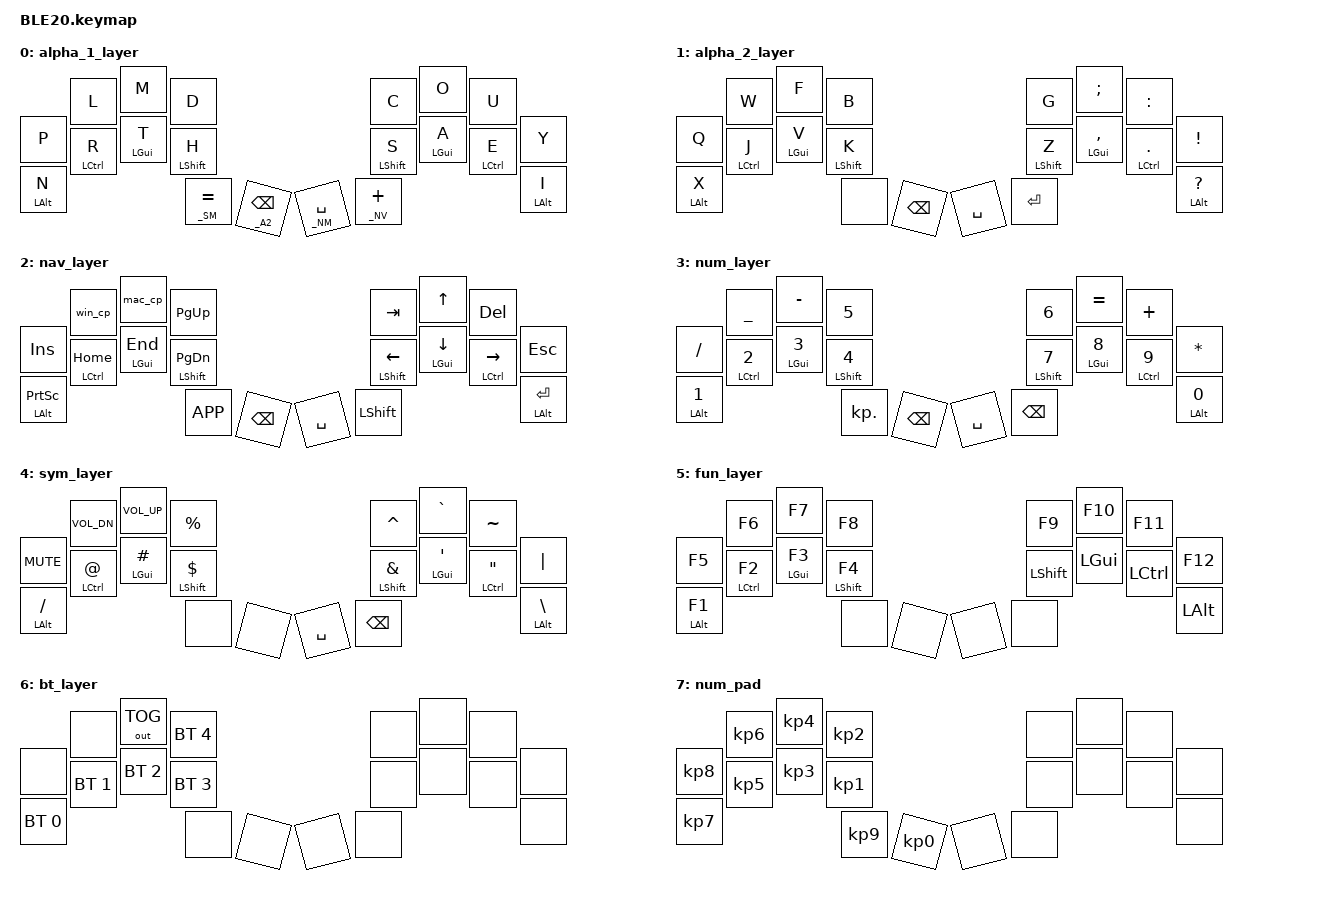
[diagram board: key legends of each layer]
/*
 * Copyright (c) 2021 The ZMK Contributors
 *
 * SPDX-License-Identifier: MIT
 */

#include <behaviors.dtsi>
#include <dt-bindings/zmk/keys.h>
#include <dt-bindings/zmk/bt.h>
#include <dt-bindings/zmk/outputs.h>
#include "keypos_20keys.h"

#define _A1      0
#define _A2      1
#define _NV      2
#define _NM      3
#define _SM      4
#define _FS      5
#define _BT      6
#define _NP      7

// &sk {
//     quick-release;
// };

&sl {
    release-after-ms = <300>;
};

/ {
// ------------------------- MACROS --------------------------------
    macros {
            muc_you: macro_uc_you {
            compatible = "zmk,behavior-macro";
            #binding-cells = <0>;
            wait-ms = <0>;
            tap-ms = <5>;
            bindings
                = <&kp LS(Y)>
                , <&kp O>
                , <&kp U>
                ;
        };

        mlc_you: macro_lc_you {
            compatible = "zmk,behavior-macro";
            #binding-cells = <0>;
            wait-ms = <0>;
            tap-ms = <5>;
            bindings
                = <&kp Y>
                , <&kp O>
                , <&kp U>
                ;
        };

        muc_the: macro_uc_the {
            compatible = "zmk,behavior-macro";
            #binding-cells = <0>;
            wait-ms = <0>;
            tap-ms = <5>;
            bindings
                = <&kp LS(T)>
                , <&kp H>
                , <&kp E>
                ;
        };

        mlc_the: macro_lc_the {
            compatible = "zmk,behavior-macro";
            #binding-cells = <0>;
            wait-ms = <0>;
            tap-ms = <5>;
            bindings
                = <&kp T>
                , <&kp H>
                , <&kp E>
                ;
        };

        mlc_are: macro_lc_are {
            compatible = "zmk,behavior-macro";
            #binding-cells = <0>;
            wait-ms = <0>;
            tap-ms = <5>;
            bindings
                = <&kp A>
                , <&kp R>
                , <&kp E>
                ;
        };

        mlc_ould: macro_lc_ould {
            compatible = "zmk,behavior-macro";
            #binding-cells = <0>;
            wait-ms = <0>;
            tap-ms = <5>;
            bindings
                = <&kp O>
                , <&kp U>
                , <&kp L>
                , <&kp D>
                ;
        };

        // to_BASE: to_BASE {
        //     compatible = "zmk,behavior-macro";
        //     #binding-cells = <0>;
        //     wait-ms = <0>;
        //     tap-ms = <0>;
        //     bindings
        //         = <&rgb_ug RGB_OFF>
        //         , <&tog _NAV>
        //         ;
        // };

        // mo_SYM: mo_SYM {
        //     compatible = "zmk,behavior-macro";
        //     #binding-cells = <0>;
        //     wait-ms = <0>;
        //     tap-ms = <0>;
        //     bindings
        //         = <&macro_tap &rgb_ug RGB_SYM>
        //         , <&macro_press &mo _SYM>
        //         , <&macro_pause_for_release>
        //         , <&macro_tap &rgb_ug RGB_BASE>
        //         , <&macro_release &mo _SYM>
        //         ;
        // };

        // to_SYM: to_SYM {
        //     compatible = "zmk,behavior-macro";
        //     #binding-cells = <0>;
        //     wait-ms = <0>;
        //     tap-ms = <0>;
        //     bindings
        //         = <&rgb_ug RGB_ON>
        //         , <&rgb_ug RGB_SYM>
        //         , <&to _SYM>
        //         ;
        // };

        // to_NAV: to_NAV {
        //     compatible = "zmk,behavior-macro";
        //     #binding-cells = <0>;
        //     wait-ms = <0>;
        //     tap-ms = <0>;
        //     bindings
        //         = <&rgb_ug RGB_ON>
        //         , <&rgb_ug RGB_NAV>
        //         , <&tog _NAV>
        //         ;
        // };

        // mo_NAV: mo_NAV {
        //     compatible = "zmk,behavior-macro";
        //     #binding-cells = <0>;
        //     wait-ms = <0>;
        //     tap-ms = <0>;
        //     bindings
        //         = <&macro_tap &rgb_ug RGB_NAV>
        //         , <&macro_press &mo _NAV>
        //         , <&macro_pause_for_release>
        //         , <&macro_tap &rgb_ug RGB_BASE>
        //         , <&macro_release &mo _NAV>
        //         ;
        // };

        // mo_BTF: mo_BTF {
        //     compatible = "zmk,behavior-macro";
        //     #binding-cells = <0>;
        //     wait-ms = <0>;
        //     tap-ms = <0>;
        //     bindings
        //         = <&macro_tap &rgb_ug RGB_ON>
        //         , <&macro_tap &rgb_ug RGB_BTF>
        //         , <&macro_press &mo _BTF>
        //         , <&macro_pause_for_release>
        //         , <&macro_tap &rgb_ug RGB_OFF>
        //         , <&macro_release &mo _BTF>
        //         ;
        // };

        // to_BOOT: to_BOOT {
        //     compatible = "zmk,behavior-macro";
        //     #binding-cells = <0>;
        //     bindings
        //         = <&rgb_ug RGB_COLOR_HSB(0,100,50)>
        //         , <&rgb_ug RGB_ON>
        //         , <&bootloader>
        //         ;
        // };
    };

    combos {
        compatible = "zmk,combos";
// ------------------------- LAYER COMBOS --------------------------------
        combo_BOOT {
            timeout-ms = <40>;
            key-positions = <LOT LIT LTP LBP>;
            bindings = <&bootloader>;
        };

        combo_BT_CLR {
            timeout-ms = <40>;
            key-positions = <LTP LTR>;
            bindings = <&bt BT_CLR>;
            layers = <_BT>;
        };

        combo_BT {
            timeout-ms = <50>;
            key-positions = <LOT LIT>;
            bindings = <&mo _BT>;
        };

        combo_FUN {
            timeout-ms = <50>;
            key-positions = <LIT RIT>;
            bindings = <&mo _FS>;
        };

        combo_NAV {
            timeout-ms = <50>;
            key-positions = <RBI RTM RBR>;
            bindings = <&to _NV>;
            layers = <_A1>;
        };

        combo_NUMPAD {
            timeout-ms = <50>;
            key-positions = <LBI LTM LBR>;
            bindings = <&to _NP>;
            layers = <_A1>;
        };

        combo_BASER {
            timeout-ms = <50>;
            key-positions = <RBI RTM RBR>;
            bindings = <&to _A1>;
            layers = <_NV _NP>;
        };

        combo_BASEL {
            timeout-ms = <50>;
            key-positions = <LBI LTM LBR>;
            bindings = <&to _A1>;
            layers = <_NV _NP>;
        };

// ------------------------- VOLUME COMBOS --------------------------------
        // combo_V_UP {
        //     timeout-ms = <40>;
        //     key-positions = <LTI LTM>;
        //     bindings = <&kp C_VOL_UP>;
        //     require-prior-idle-ms = <200>;
        //     layers = <_A1>;
        // };

        // combo_V_DN {
        //     timeout-ms = <40>;
        //     key-positions = <LBM LBI>;
        //     bindings = <&kp C_VOL_DN>;
        //     require-prior-idle-ms = <200>;
        //     layers = <_A1>;
        // };

        // combo_MUTE {
        //     timeout-ms = <40>;
        //     key-positions = <LOT LIT>;
        //     bindings = <&kp C_MUTE>;
        //     require-prior-idle-ms = <200>;
        //     layers = <_A1>;
        // };

        // combo_ESC {
        //     timeout-ms = <50>;
        //     key-positions = <LTP LTR>;
        //     bindings = <&kp ESC>;
        //     require-prior-idle-ms = <200>;
        // };

        // combo_BSPC {
        //     timeout-ms = <50>;
        //     key-positions = <RBI RBM RBR>;
        //     bindings = <&kp BSPC>;
        //     layers = <_A1>;
        // };



// ------------------------- MODS COMBOS --------------------------------
        combo_CAPS {
            timeout-ms = <50>;
            key-positions = <LTI RTI>;
            bindings = <&caps_word>;
            require-prior-idle-ms = <200>;
            layers = <_A1 _A2>;
        };

        // combo_RALTL {
        //     timeout-ms = <40>;
        //     key-positions = <LMP LTP>;
        //     bindings = <&kp RALT>;
        //     require-prior-idle-ms = <200>;
        //     //layers = <_BASE>;
        // };

        // combo_RALTR {
        //     timeout-ms = <40>;
        //     key-positions = <LMP RTP>;
        //     bindings = <&kp RALT>;
        //     require-prior-idle-ms = <200>;
        //     //layers = <_BASE>;
        // };

// ------------------------- NUMPAD COMBOS --------------------------------
        combo_RET {
            timeout-ms = <50>;
            key-positions = <LBM LBI LBR>;
            bindings = <&kp KP_ENTER>;
            layers = <_NP>;
        };

        combo_NP_BSPC {
            timeout-ms = <50>;
            key-positions = <LTM LTI LTR>;
            bindings = <&kp BSPC>;
            layers = <_NP>;
        };

        combo_KPDOT {
            timeout-ms = <50>;
            key-positions = <LTP LBP>;
            bindings = <&kp KP_DOT>;
            layers = <_NP>;
        };

        combo_KPPLUS {
            timeout-ms = <50>;
            key-positions = <LTM LTI>;
            bindings = <&kp KP_PLUS>;
            layers = <_NP>;
        };

        combo_KPMINUS {
            timeout-ms = <50>;
            key-positions = <LBM LBI>;
            bindings = <&kp KP_MINUS>;
            layers = <_NP>;
        };

        combo_KPSTAR {
            timeout-ms = <50>;
            key-positions = <LTR LTM>;
            bindings = <&kp KP_MULTIPLY>;
            layers = <_NP>;
        };

        combo_KPSLASH {
            timeout-ms = <50>;
            key-positions = <LBR LBM>;
            bindings = <&kp KP_DIVIDE>;
            layers = <_NP>;
        };

// ------------------------- CHARACTER COMBOS --------------------------------
        combo_OULD {
            timeout-ms = <50>;
            key-positions = <RTI RTM RTR>;
            bindings = <&mlc_ould>;
            layers = <_A1>;
        };

        combo_ARE {
            timeout-ms = <50>;
            key-positions = <LTI LTM LTR>;
            bindings = <&mlc_are>;
            layers = <_A1>;
        };

        combo_YOU {
            timeout-ms = <50>;
            key-positions = <RBI RBM RBR>;
            bindings = <&mm_you>;
            layers = <_A1>;
        };

        combo_THE {
            timeout-ms = <50>;
            key-positions = <LBI LBM LBR>;
            bindings = <&mm_the>;
            layers = <_A1>;
        };

        // combo_COMMA {
        //     timeout-ms = <60>;
        //     key-positions = <RBM LIT>;
        //     bindings = <&kp COMMA>;
        //     layers = <_A1>;
        // };

        // combo_DOT {
        //     timeout-ms = <60>;
        //     key-positions = <RBR LIT>;
        //     bindings = <&kp DOT>;
        //     layers = <_A1>;
        // };

        // combo_QMARK {
        //     timeout-ms = <60>;
        //     key-positions = <RBP LIT>;
        //     bindings = <&kp QMARK>;
        //     layers = <_A1>;
        // };

        // combo_SEMI {
        //     timeout-ms = <60>;
        //     key-positions = <RTM LIT>;
        //     bindings = <&kp SEMI>;
        //     layers = <_A1>;
        // };

        // combo_COLON {
        //     timeout-ms = <60>;
        //     key-positions = <RTR LIT>;
        //     bindings = <&kp COLON>;
        //     layers = <_A1>;
        // };

        // combo_EXCL {
        //     timeout-ms = <60>;
        //     key-positions = <RTP LIT>;
        //     bindings = <&kp EXCL>;
        //     layers = <_A1>;
        // };

        combo_SQT {
            timeout-ms = <50>;
            key-positions = <LTR LTI>;
            bindings = <&kp SQT>;
            layers = <_A1>;
        };

        combo_DQT {
            timeout-ms = <50>;
            key-positions = <RTR RTI>;
            bindings = <&kp DQT>;
            layers = <_A1>;
        };

        combo_LPAR {
            timeout-ms = <40>;
            key-positions = <LBI LTI>;
            bindings = <&kp LPAR>;
            layers = <_A1>;
        };

        combo_RPAR {
            timeout-ms = <50>;
            key-positions = <RTI RBI>;
            bindings = <&kp RPAR>;
            layers = <_A1>;
        };

        combo_LBRC {
            timeout-ms = <50>;
            key-positions = <LBM LTM>;
            bindings = <&kp LBRC>;
            layers = <_A1>;
        };

        combo_RBRC {
            timeout-ms = <50>;
            key-positions = <RTM RBM>;
            bindings = <&kp RBRC>;
            layers = <_A1>;
        };

        combo_LBKT {
            timeout-ms = <50>;
            key-positions = <LBR LTR>;
            bindings = <&kp LBKT>;
            layers = <_A1>;
        };

        combo_RBKT {
            timeout-ms = <50>;
            key-positions = <RBR RTR>;
            bindings = <&kp RBKT>;
            layers = <_A1>;
        };

        combo_LT {
            timeout-ms = <50>;
            key-positions = <LBP LTP>;
            bindings = <&kp LT>;
            layers = <_A1>;
        };

        combo_GT {
            timeout-ms = <50>;
            key-positions = <RBP RTP>;
            bindings = <&kp GT>;
            layers = <_A1>;
        };

        // combo_PSCRN {
        //     timeout-ms = <40>;
        //     key-positions = <LBR LBI>;
        //     bindings = <&kp PSCRN>;
        //     layers = <_BASE _NAV>;
        //     require-prior-idle-ms = <200>;
        // };

        // combo_CP_M {
        //     timeout-ms = <40>;
        //     key-positions = <RTC RMC>;
        //     bindings = <&mac_cp>;
        //     layers = <_NAV>;
        //     require-prior-idle-ms = <200>;
        // };

        // combo_CP_W {
        //     timeout-ms = <40>;
        //     key-positions = <LTC LMC>;
        //     bindings = <&win_cp>;
        //     layers = <_NAV>;
        //     require-prior-idle-ms = <200>;
        // };

        // combo_PASTA_M {
        //     timeout-ms = <40>;
        //     key-positions = <RBM RBR>;
        //     bindings = <&kp LG(V)>;
        //     layers = <_BASE>;
        //     require-prior-idle-ms = <200>;
        // };

        // combo_PASTA_W {
        //     timeout-ms = <40>;
        //     key-positions = <LBM LBR>;
        //     bindings = <&kp LC(V)>;
        //     layers = <_BASE>;
        //     require-prior-idle-ms = <200>;
        // };

        // combo_FSLH {
        //     timeout-ms = <45>;
        //     key-positions = <RMM RMR>;
        //     bindings = <&kp FSLH>;
        //     layers = <_BASE _SYM>;
        // };

        // combo_BSLH {
        //     timeout-ms = <45>;
        //     key-positions = <LMR LMM>;
        //     bindings = <&kp BSLH>;
        //     layers = <_BASE _SYM>;
        // };
    };

    behaviors {
// ------------------------- TAP-DANCES --------------------------------
        win_cp: win_cp {
            compatible = "zmk,behavior-tap-dance";
            #binding-cells = <0>;
            tapping-term-ms = <400>;
            bindings = <&kp LC(C)>, <&kp LC(V)>, <&kp LC(X)>;
        };

        mac_cp: mac_cp {
            compatible = "zmk,behavior-tap-dance";
            #binding-cells = <0>;
            tapping-term-ms = <400>;
            bindings = <&kp LG(C)>, <&kp LG(V)>, <&kp LG(X)>;
        };

// ------------------------- HOLD-TAPS --------------------------------
        /* left-hand HRMs */
        hml: hrm_left {
            compatible = "zmk,behavior-hold-tap";
            #binding-cells = <2>;
            flavor = "tap-preferred";
            tapping-term-ms = <300>;
            quick-tap-ms = <170>;                // repeat on tap-into-hold
            require-prior-idle-ms = <120>;
            bindings = <&kp>, <&kp>;
            hold-trigger-key-positions = <KEYS_R THUMBS>;
            hold-trigger-on-release;             // delay positional check until key-release
        };

        /* right-hand HRMs */
        hmr: hrm_right {
            compatible = "zmk,behavior-hold-tap";
            #binding-cells = <2>;
            flavor = "tap-preferred";
            tapping-term-ms = <300>;
            quick-tap-ms = <170>;                // repeat on tap-into-hold
            require-prior-idle-ms = <120>;
            bindings = <&kp>, <&kp>;
            hold-trigger-key-positions = <KEYS_L THUMBS>;
            hold-trigger-on-release;             // delay positional check until key-release
        };

        hsl: hrs_left {
            compatible = "zmk,behavior-hold-tap";
            #binding-cells = <2>;
            flavor = "balanced";
            tapping-term-ms = <220>;
            quick-tap-ms = <170>;                // repeat on tap-into-hold
            require-prior-idle-ms = <120>;
            bindings = <&kp>, <&kp>;
            hold-trigger-key-positions = <KEYS_R THUMBS>;
            hold-trigger-on-release;             // delay positional check until key-release
        };

        hsr: hrs_right {
            compatible = "zmk,behavior-hold-tap";
            #binding-cells = <2>;
            flavor = "balanced";
            tapping-term-ms = <220>;
            quick-tap-ms = <170>;                // repeat on tap-into-hold
            require-prior-idle-ms = <120>;
            bindings = <&kp>, <&kp>;
            hold-trigger-key-positions = <KEYS_L THUMBS>;
            hold-trigger-on-release;             // delay positional check until key-release
        };

        bst: backspace-tap {
            compatible = "zmk,behavior-hold-tap";
            #binding-cells = <2>;
            flavor = "hold-preferred";
            tapping-term-ms = <150>;
            quick-tap-ms = <140>;
            //require-prior-idle-ms = <100>;
            bindings = <&mo>, <&kp>;
        };

        spt: space-tap {
            compatible = "zmk,behavior-hold-tap";
            #binding-cells = <2>;
            flavor = "balanced";
            tapping-term-ms = <200>;
            quick-tap-ms = <140>;
            //require-prior-idle-ms = <100>;
            bindings = <&mo>, <&kp>;
        };

// ------------------------- MOD-MORPHS --------------------------------
        // com_sem: comma_semicolon {
        //     compatible = "zmk,behavior-mod-morph";
        //     #binding-cells = <0>;
        //     bindings = <&kp COMMA>, <&kp SEMI>;
        //     mods = <(MOD_LSFT)>;
        // };

        // dot_col: dot_colon {
        //     compatible = "zmk,behavior-mod-morph";
        //     #binding-cells = <0>;
        //     bindings = <&kp DOT>, <&kp COLON>;
        //     mods = <(MOD_LSFT)>;
        // };

        mm_you: mm_you {
            compatible = "zmk,behavior-mod-morph";
            #binding-cells = <0>;
            bindings = <&mlc_you>, <&muc_you>;
            mods = <(MOD_LSFT)>;
        };

        mm_the: mm_the {
            compatible = "zmk,behavior-mod-morph";
            #binding-cells = <0>;
            bindings = <&mlc_the>, <&muc_the>;
            mods = <(MOD_LSFT)>;
        };
        
    };

    keymap {
        compatible = "zmk,keymap";

                alpha_1_layer{
// -------------------------------    -------------------------------
// |  P  |  L  |  M  |  D  |                |  C  |  O  |  U  |  Y  |
// |  N  |  R  |  T  |  H  |                |  S  |  A  |  E  |  I  |
//       | _SM(BSPC) | _A2(BSPC) |    | _NM(SPC) | _NV(RET) |
                        bindings = <
   &kp P       &kp L        &kp M       &kp D             &kp C        &kp O       &kp U        &kp Y
   &hml LALT N &hml LCTRL R &hml LGUI T &hsl LSHFT H      &hsr LSHFT S &hmr LGUI A &hmr LCTRL E &hmr LALT I 
                        &bst _SM EQUAL  &bst _A2 BSPC     &spt _NM SPACE  &spt _NV PLUS
                        >;
                };
                        //  &bst _SM BSPC  &bst _A2 BSPC     &spt _NM SPACE  &spt _NV RET


                alpha_2_layer{
// -------------------------------    -------------------------------
// |  Q  |  W  |  F  |  B  |                |  G  |  ;  |  :  |  !  |
// |  X  |  J  |  V  |  K  |                |  Z  |  ,  |  .  |  ?  |
//                   |     |     |    | SPC | RET |
                        bindings = <
   &kp Q       &kp W        &kp F       &kp B             &kp G        &kp SEMI        &kp COLON      &kp EXCL
   &hml LALT X &hml LCTRL J &hml LGUI V &hsl LSHFT K      &hsr LSHFT Z &hmr LGUI COMMA &hmr LCTRL DOT &hmr LALT QMARK
                            &none       &kp BSPC          &kp SPACE    &kp RET
                        >;
                };

                nav_layer {
// ---------------------------------    ---------------------------------
// | INS | wCP  | mCP | PGUP |               | TAB  |  UP  | DEL  | ESC |
// | PSC | HOME | END | PGDN |               | LEFT | DOWN | RGHT | RET |
//                    | APP | BSPC |    | SPC | LSFT |
                        bindings = <
   &kp INS         &win_cp         &mac_cp       &kp PG_UP          &kp TAB         &kp UP         &kp DEL          &kp ESC
   &hml LALT PSCRN &hml LCTRL HOME &hml LGUI END &hsl LSHFT PG_DN   &hsr LSHFT LEFT &hmr LGUI DOWN &hmr LCTRL RIGHT &hmr LALT RET
                                   &kp K_APP     &kp BSPC           &kp SPACE       &kp LSHFT
                        >;
                };
                
                num_layer {
// -------------------------------    -------------------------------
// |  /  |  _  |  -  |  5  |                |  6  |  =  |  +  |  *  |
// |  1  |  2  |  3  |  4  |                |  7  |  8  |  9  |  0  |
//                  | SPC | BSPC |    | SPC | BSPC |
                        bindings = <
   &kp SLASH    &kp UNDER     &kp MINUS    &kp N5             &kp N6        &kp EQUAL    &kp PLUS      &kp STAR
   &hml LALT N1 &hml LCTRL N2 &hml LGUI N3 &hsl LSHFT N4      &hsr LSHFT N7 &hmr LGUI N8 &hmr LCTRL N9 &hmr LALT N0
                              &kp KP_DOT   &kp BSPC           &kp SPACE     &kp BSPC
                        >;
                };

                sym_layer {
// -------------------------------    -------------------------------
// |  V. |  V- |  V+ |  %  |                |  ^  |  `  |  ~  |  |  |
// |  /  |  @  |  #  |  $  |                |  &  |  '  |  "  |  \  |
//                   |     |     |    | SPC | BSPC |
                        bindings = <
   &kp C_MUTE      &kp C_VOL_DN  &kp C_VOL_UP   &kp PRCNT            &kp CARET       &kp GRAVE     &kp TILDE      &kp PIPE
   &hml LALT SLASH &hml LCTRL AT &hml LGUI HASH &hsl LSHFT DLLR      &hsr LSHFT AMPS &hmr LGUI SQT &hmr LCTRL DQT &hmr LALT BSLH
                                                &none    &none       &kp SPACE     &kp BSPC
                        >;
                };

                fun_layer {
// -------------------------------    --------------------------------
// |  F5 |  F6 |  F7 |  F8 |                |  F9  | F10 | F11 | F12 |
// |  F1 |  F2 |  F3 |  F4 |                | SHFT | GUI | CTL | ALT |
//                   |     |     |    |     |      |
                        bindings = <
   &kp F5       &kp F6        &kp F7       &kp F8             &kp F9    &kp F10  &kp F11   &kp F12
   &hml LALT F1 &hml LCTRL F2 &hml LGUI F3 &hsl LSHFT F4      &kp LSHFT &kp LGUI &kp LCTRL &kp LALT
                                            &none  &none      &none  &none
                        >;
                };

                bt_layer {
// -------------------------    ---------------------
// |    CLR    | OUT | BT5 |    |    |    |    |    |
// | BT1 | BT2 | BT3 | BT4 |    |    |    |    |    |
//             |     |     |    |    |    |
                        bindings = <
   &none        &none        &out OUT_TOG &bt BT_SEL 4        &none  &none  &none  &none
   &bt BT_SEL 0 &bt BT_SEL 1 &bt BT_SEL 2 &bt BT_SEL 3        &none  &none  &none  &none
                                          &none  &none        &none  &none
                        >;
                };                

                num_pad {
// -------------------------    ---------------------
// |  8  |  6  |  4  |  2  |    |    |    |    |    |
// |  7  |  5  |  3  |  1  |    |    |    |    |    |
//             |  9  |  0  |    |    |    |
                        bindings = <
   &kp KP_N8 &kp KP_N6 &kp KP_N4 &kp KP_N2        &none  &none  &none  &none
   &kp KP_N7 &kp KP_N5 &kp KP_N3 &kp KP_N1        &none  &none  &none  &none
                       &kp KP_N9 &kp KP_N0        &none  &none
                        >;
                };                

    };
};


/delete-node/ &gd25q16;
